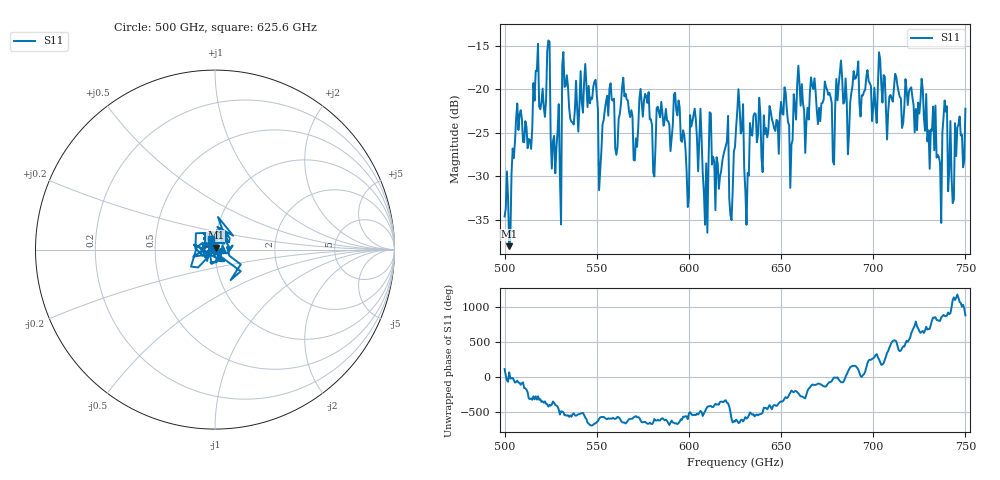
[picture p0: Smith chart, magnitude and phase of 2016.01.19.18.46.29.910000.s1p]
!Created with skrf (http://scikit-rf.org).
# GHz S RI R 50.0
!freq ReS11 ImS11
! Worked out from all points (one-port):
!   401 points, 500 GHz to 750 GHz, reference 50 ohm
!   lowest |S11| = -38.1 dB at 502.5 GHz (marker M1), VSWR 1.03, Z = 50.5 + j1.17 ohm
!   |S11| at or under -10 dB: start of sweep to end of sweep
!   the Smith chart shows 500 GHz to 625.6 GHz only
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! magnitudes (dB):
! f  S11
! 500 GHz  -34.6
! 502.5 GHz  -38.1
! 507.5 GHz  -24.7
! 513.8 GHz  -25.8
! 516.9 GHz  -17.9
! 523.8 GHz  -14.4
! 526.2 GHz  -25.9
! 531.2 GHz  -17.3
! 532.5 GHz  -19.7
! 549.4 GHz  -18.9
! 552.5 GHz  -27.1
! 562.5 GHz  -22.9
! 593.8 GHz  -23.0
! 608.8 GHz  -35.6
! 611.9 GHz  -22.8
! 623.1 GHz  -35.1
! 625 GHz  -26.6
! 628.1 GHz  -25.1
! 631.2 GHz  -35.6
! 635 GHz  -23.1
! 656.2 GHz  -25.9
! 660 GHz  -19.5
! 687.5 GHz  -21.5
! 718.8 GHz  -21.8
! 735.6 GHz  -27.8
! 738.8 GHz  -21.3
! 742.5 GHz  -30.2
! 750 GHz  -22.2
